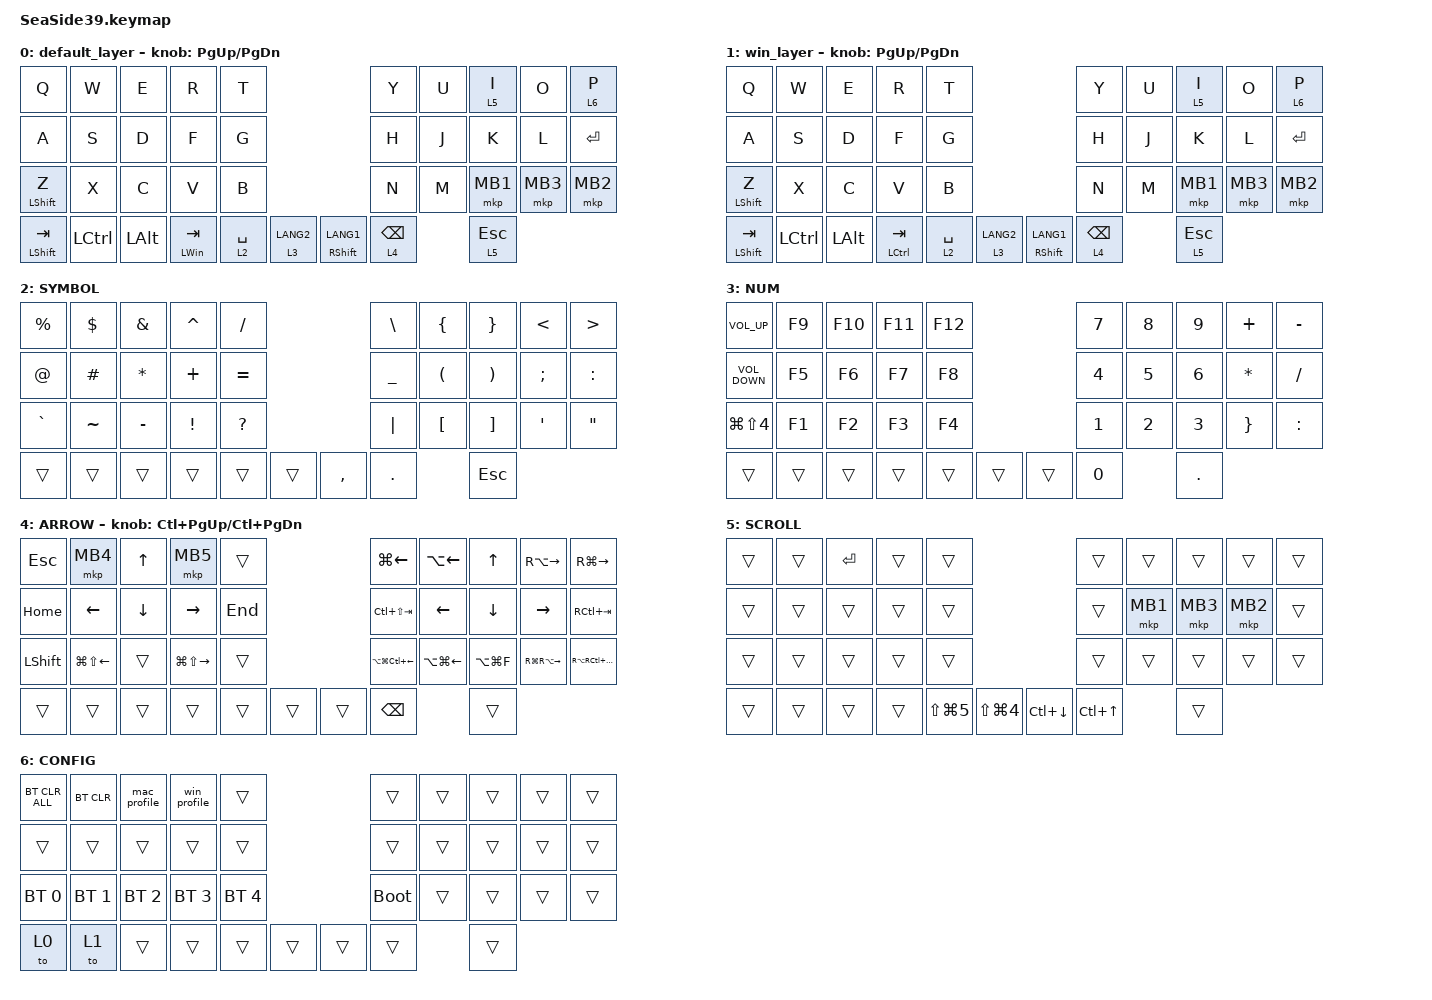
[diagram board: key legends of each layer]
#include <behaviors.dtsi>
#include <dt-bindings/zmk/bt.h>
#include <dt-bindings/zmk/keys.h>
#include <dt-bindings/zmk/pointing.h>

&mt {
    flavor = "balanced";
    quick-tap-ms = <300>;
};

&lt {
    flavor = "balanced";
    quick-tap-ms = <300>;
};

/ {
    combos { compatible = "zmk,combos"; };

    macros {
        to_layer_0: to_layer_0 {
            compatible = "zmk,behavior-macro-one-param";
            #binding-cells = <1>;
            bindings = <&to 0 &macro_param_1to1 &kp MACRO_PLACEHOLDER>;
            label = "TO_LAYER_0";
        };

        // Mac用プロファイル切り替え
        mac_profile: mac_profile {
            compatible = "zmk,behavior-macro";
            label = "MAC_PROFILE";
            #binding-cells = <0>;
            // BT0 + layer0(Mac)
            bindings = <&bt BT_SEL 0>, <&to 0>;
        };

        // Win用プロファイル切り替え
        win_profile: win_profile {
            compatible = "zmk,behavior-macro";
            label = "WIN_PROFILE";
            #binding-cells = <0>;
            // BT1 + layer1(Win)
            bindings = <&bt BT_SEL 1>, <&to 1>;
        };
    };

    behaviors {
        lt_to_layer_0: lt_to_layer_0 {
            compatible = "zmk,behavior-hold-tap";
            label = "LAYER_TAP_TO_0";
            bindings = <&mo>, <&to_layer_0>;

            #binding-cells = <2>;
            tapping-term-ms = <200>;
        };
    };

    keymap {
        compatible = "zmk,keymap";

        /* ---------- Layer 0: Mac base ---------- */
        default_layer {
            bindings = <
&kp Q               &kp W      &kp E         &kp R             &kp T                                          &kp Y            &kp U  &lt 5 I      &kp O     &lt 6 P
&kp A               &kp S      &kp D         &kp F             &kp G                                          &kp H            &kp J  &kp K      &kp L     &kp ENTER
&mt LEFT_SHIFT Z    &kp X      &kp C         &kp V             &kp B                                          &kp N            &kp M  &mkp MB1   &mkp MB3  &mkp MB2
&mt LEFT_SHIFT TAB  &kp LCTRL  &kp LEFT_ALT  &mt LEFT_WIN TAB  &lt 2 SPACE  &lt 3 LANG2       &mt RIGHT_SHIFT LANG1  &lt 4 BACKSPACE    &lt 5 ESCAPE
            >;

            sensor-bindings = <&inc_dec_kp PG_UP PAGE_DOWN>;
        };

        /* ---------- Layer 1: Win base ---------- */
        win_layer {
            bindings = <
&kp Q               &kp W      &kp E         &kp R                 &kp T                                    &kp Y            &kp U  &lt 5 I      &kp O     &lt 6 P
&kp A               &kp S      &kp D         &kp F                 &kp G                                    &kp H            &kp J  &kp K      &kp L     &kp ENTER
&mt LEFT_SHIFT Z    &kp X      &kp C         &kp V                 &kp B                                    &kp N            &kp M  &mkp MB1   &mkp MB3  &mkp MB2
&mt LEFT_SHIFT TAB  &kp LCTRL  &kp LEFT_ALT  &mt LEFT_CONTROL TAB  &lt 2 SPACE  &lt 3 LANG2  &mt RIGHT_SHIFT LANG1  &lt 4 BACKSPACE    &lt 5 ESCAPE
            >;

            sensor-bindings = <&inc_dec_kp PG_UP PAGE_DOWN>;
        };

        /* ---------- Layer 2: SYMBOL ---------- */
        SYMBOL {
            bindings = <
&kp PRCNT  &kp DOLLAR  &kp AMPERSAND  &kp CARET        &kp FSLH                             &kp BSLH        &kp LEFT_BRACE        &kp RIGHT_BRACE        &kp LESS_THAN  &kp GREATER_THAN
&kp AT     &kp HASH    &kp ASTERISK   &kp PLUS         &kp EQUAL                            &kp UNDERSCORE  &kp LEFT_PARENTHESIS  &kp RIGHT_PARENTHESIS  &kp SEMI       &kp COLON
&kp GRAVE  &kp TILDE   &kp MINUS      &kp EXCLAMATION  &kp QUESTION                         &kp PIPE        &kp LBKT              &kp RBKT               &kp SQT        &kp DOUBLE_QUOTES
&trans     &trans      &trans         &trans           &trans        &trans      &kp COMMA  &kp PERIOD                                                                  &kp ESC
            >;
        };

        /* ---------- Layer 3: NUM ---------- */
        NUM {
            bindings = <
&kp C_VOLUME_UP       &kp F9  &kp F10  &kp F11  &kp F12                      &kp N7        &kp NUMBER_8  &kp NUMBER_9  &kp PLUS         &kp MINUS
&kp C_VOLUME_DOWN     &kp F5  &kp F6   &kp F7   &kp F8                       &kp NUMBER_4  &kp NUMBER_5  &kp NUMBER_6  &kp ASTERISK     &kp SLASH
&kp LG(LS(NUMBER_4))  &kp F1  &kp F2   &kp F3   &kp F4                       &kp NUMBER_1  &kp NUMBER_2  &kp NUMBER_3  &kp RIGHT_BRACE  &kp COLON
&trans                &trans  &trans   &trans   &trans   &trans      &trans  &kp NUMBER_0                                               &kp PERIOD
            >;
        };

        /* ---------- Layer 4: ARROW ---------- */
        ARROW {
            bindings = <
&kp ESCAPE      &mkp MB4                &kp UP_ARROW    &mkp MB5                 &trans                       &kp LG(LEFT_ARROW)          &kp LA(LEFT_ARROW)      &kp UP_ARROW    &kp RA(RIGHT_ARROW)      &kp RG(RIGHT_ARROW)
&kp HOME        &kp LEFT_ARROW          &kp DOWN_ARROW  &kp RIGHT_ARROW          &kp END                      &kp LC(LS(TAB))             &kp LEFT_ARROW          &kp DOWN_ARROW  &kp RIGHT_ARROW          &kp RC(TAB)
&kp LEFT_SHIFT  &kp LG(LS(LEFT_ARROW))  &trans          &kp LG(LS(RIGHT_ARROW))  &trans                       &kp LA(LG(LC(LEFT_ARROW)))  &kp LA(LG(LEFT_ARROW))  &kp LA(LG(F))   &kp RG(RA(RIGHT_ARROW))  &kp RA(RC(RG(RIGHT_ARROW)))
&trans          &trans                  &trans          &trans                   &trans   &trans      &trans  &kp BACKSPACE                                                                                &trans
            >;

            sensor-bindings = <&inc_dec_kp LC(PAGE_UP) LC(PAGE_DOWN)>;
        };

        /* ---------- Layer 5: SCROLL（MOUSE+SCROLL統合） ---------- */
        SCROLL {
            bindings = <
&trans  &trans  &kp ENTER  &trans  &trans                                            &trans            &trans    &trans    &trans    &trans
&trans  &trans  &trans     &trans  &trans                                            &trans            &mkp MB1  &mkp MB3  &mkp MB2  &trans
&trans  &trans  &trans     &trans  &trans                                            &trans            &trans    &trans    &trans    &trans
&trans  &trans  &trans     &trans  &kp LS(LG(N5))  &kp LS(LG(N4))      &kp LC(DOWN)  &kp LC(UP_ARROW)                          &trans
            >;
        };

        /* ---------- Layer 6: CONFIG ---------- */
        CONFIG {
            bindings = <
&bt BT_CLR_ALL  &bt BT_CLR    &mac_profile   &win_profile   &trans                            &trans       &trans  &trans  &trans  &trans
&trans          &trans        &trans         &trans         &trans                            &trans       &trans  &trans  &trans  &trans
&bt BT_SEL 0    &bt BT_SEL 1  &bt BT_SEL 2   &bt BT_SEL 3   &bt BT_SEL 4                      &bootloader  &trans  &trans  &trans  &trans
&to 0           &to 1         &trans         &trans         &trans        &trans      &trans  &trans                               &trans
            >;
        };
    };
};
